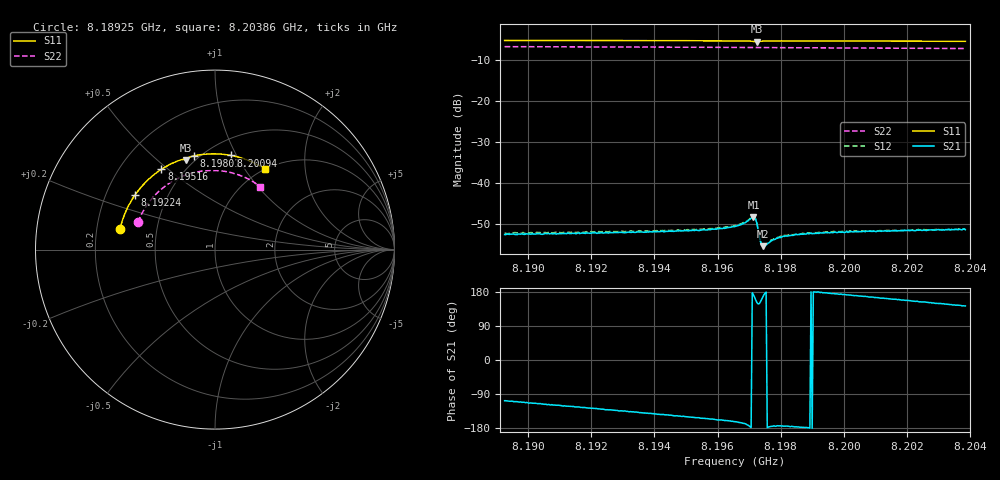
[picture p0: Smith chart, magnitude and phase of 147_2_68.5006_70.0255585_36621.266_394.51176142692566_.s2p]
#  HZ  S  RI  R  50.00
! Rohde & Schwarz Vector Network Analyzer
! Rohde-Schwarz,ZNB20-2Port,1311601062101988,3.16
! Created: UTC 3/20/2024, 4:55:07 PM
! freq[Hz]  re:S11  im:S11  re:S21  im:S21  re:S12  im:S12  re:S22  im:S22
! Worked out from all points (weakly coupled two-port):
!   401 points, 8.18925 GHz to 8.20386 GHz, reference 50 ohm
!   highest |S21| = -48.20 dB at 8.19714 GHz (marker M1); lowest = -55.3 dB at 8.19743 GHz (marker M2)
!   lowest |S11| = -5.6 dB at 8.19725 GHz (marker M3), VSWR 3.19, Z = 22.7 + j31 ohm
!   |S11| at or under -10 dB: nowhere
!   |S22| runs from -7.3 to -6.8 dB; largest |S21 - S12| = 0.00023
!   S11 on the Smith chart (normalised r, x): 8.18925 GHz: 0.30, +0.10; 8.19224 GHz: 0.32, +0.28; 8.19516 GHz: 0.38, +0.47; 8.19801 GHz: 0.47, +0.69; 8.20094 GHz: 0.65, +0.95; 8.20386 GHz: 1.00, +1.25
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8.189246e9  -0.5293 0.1138  -0.000711 -0.00226  -0.000807 -0.00235  -0.429 0.1528
8.191694e9  -0.466 0.273  -0.00143 -0.00202  -0.00154 -0.00204  -0.3625 0.2708
8.192242e9  -0.4454 0.3053  -0.00155 -0.00192  -0.00169 -0.00196  -0.343 0.2941
8.194142e9  -0.3559 0.4042  -0.00206 -0.00154  -0.00214 -0.00151  -0.2637 0.3636
8.195165e9  -0.2982 0.4475  -0.0023 -0.0013  -0.00244 -0.00124  -0.2147 0.3929
8.195713e9  -0.2648 0.4677  -0.00247 -0.00114  -0.00255 -0.00106  -0.1871 0.4058
8.196553e9  -0.21 0.4932  -0.00283 -0.000885  -0.00295 -0.000784  -0.1428 0.4219
8.196809e9  -0.1918 0.4995  -0.00313 -0.00071  -0.00325 -0.000628  -0.1288 0.4259
8.197065e9  -0.1712 0.5022  -0.00374 -9.53e-05  -0.00381 7.13e-05  -0.115 0.4295
8.197138e9  -0.1656 0.5003  -0.00385 0.000537  -0.00385 0.000697  -0.1109 0.4303
8.197174e9  -0.1639 0.4986  -0.00366 0.000923  -0.00372 0.00114  -0.109 0.4307
8.197211e9  -0.1637 0.4971  -0.00335 0.00134  -0.00336 0.0015  -0.107 0.4311
8.197247e9  -0.1642 0.4966  -0.00285 0.00154  -0.00283 0.00163  -0.1051 0.4314
8.197357e9  -0.1637 0.5027  -0.00176 0.000894  -0.00173 0.00102  -0.0993 0.4329
8.19743e9  -0.1595 0.5071  -0.00166 0.000421  -0.00168 0.00051  -0.0952 0.4337
8.197503e9  -0.1542 0.5104  -0.00174 0.000109  -0.00175 0.000165  -0.0911 0.4345
8.197759e9  -0.1351 0.5176  -0.00204 -0.000197  -0.00206 -0.000141  -0.077 0.4369
8.198015e9  -0.1167 0.5221  -0.00219 -0.000224  -0.00228 -0.000151  -0.0625 0.4387
8.199001e9  -0.0467 0.5322  -0.00242 -2.44e-06  -0.00247 0.000119  -0.00685 0.4413
8.200938e9  0.09 0.5246  -0.00251 0.000633  -0.0025 0.000771  0.1018 0.4256
8.201449e9  0.1253 0.5165  -0.00247 0.000813  -0.00248 0.000938  0.1294 0.4171
8.20386e9  0.2805 0.4475  -0.00216 0.00165  -0.00212 0.00173  0.251 0.3514
